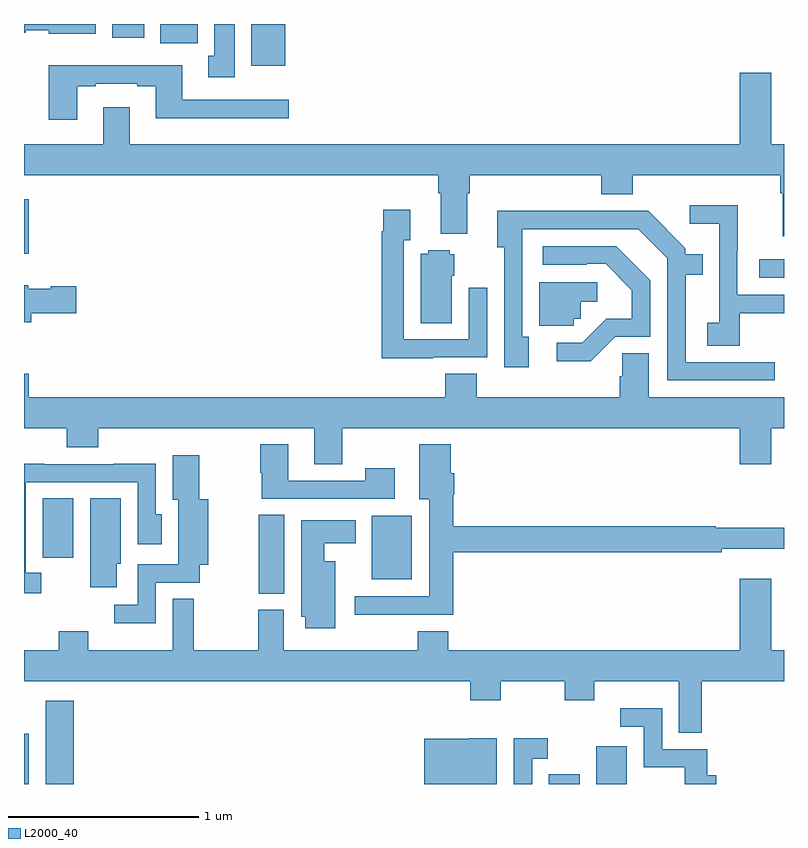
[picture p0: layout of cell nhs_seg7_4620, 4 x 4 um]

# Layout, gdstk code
import gdstk
lib = gdstk.Library(unit=1e-6, precision=1e-09)
def R(c, l, rs):  # rectangles x0, y0, x1, y1
    for r in rs: c.add(gdstk.rectangle(r[:2], r[2:], *l))
def P(c, l, *ps):  # polygons
    for p in ps: c.add(gdstk.Polygon(p, *l))
L2000_40 = (2000, 40)

nhs_seg7_4620 = lib.new_cell('nhs_seg7_4620')
R(nhs_seg7_4620, L2000_40, [(401,1076,401.025,1076.265), (401.114,1076,401.261,1076.437), (403.763,1076,403.924,1076.052), (404.012,1076,404.173,1076.2), (402.236,1077.001,402.37,1077.416), (402.83,1077.077,403.042,1077.412), (401.099,1077.192,401.26,1077.503), (404.871,1078.665,405,1078.761), (401,1078.79,401.024,1079.077), (402.197,1079.78,402.376,1080), (401.717,1079.9,401.914,1080), (401.465,1079.928,401.632,1080)])
P(nhs_seg7_4620, L2000_40, [(401.377,1080),(401,1080),(401,1079.954),(401.01,1079.954),(401.01,1079.966),(401.13,1079.966),(401.13,1079.948),(401.377,1079.948)],
  [(402.109,1080),(402.002,1080),(402.002,1079.834),(401.969,1079.834),(401.969,1079.721),(402.109,1079.721)],
  [(401.281,1079.673),(401.377,1079.673),(401.377,1079.685),(401.597,1079.685),(401.597,1079.673),(401.693,1079.673),(401.693,1079.504),(402.394,1079.504),(402.394,1079.601),(401.833,1079.601),(401.833,1079.782),(401.129,1079.782),(401.129,1079.496),(401.281,1079.496)],
  [(405,1079.368),(404.932,1079.368),(404.932,1079.743),(404.768,1079.743),(404.768,1079.368),(401.557,1079.368),(401.557,1079.563),(401.417,1079.563),(401.417,1079.368),(401,1079.368),(401,1079.204),(403.181,1079.204),(403.181,1079.108),(403.193,1079.108),(403.193,1078.895),(403.333,1078.895),(403.333,1079.108),(403.346,1079.108),(403.346,1079.204),(404.039,1079.204),(404.039,1079.105),(404.204,1079.105),(404.204,1079.204),(404.981,1079.204),(404.981,1079.108),(404.993,1079.108),(404.993,1078.884),(405,1078.884)],
  [(404.767,1078.477),(405,1078.477),(405,1078.575),(404.754,1078.575),(404.754,1078.808),(404.757,1078.808),(404.757,1079.047),(404.505,1079.047),(404.505,1078.949),(404.658,1078.949),(404.658,1078.428),(404.595,1078.428),(404.595,1078.306),(404.767,1078.306)],
  [(403.153,1078.245),(403.437,1078.245),(403.437,1078.612),(403.341,1078.612),(403.341,1078.341),(402.999,1078.341),(402.999,1078.862),(403.033,1078.862),(403.033,1079.023),(402.891,1079.023),(402.891,1078.91),(402.883,1078.91),(402.883,1078.241),(403.153,1078.241)],
  [(404.95,1078.221),(404.482,1078.221),(404.482,1078.68),(404.573,1078.68),(404.573,1078.789),(404.481,1078.789),(404.481,1078.821),(404.286,1079.016),(403.955,1079.016),(403.955,1079.018),(403.49,1079.018),(403.49,1078.826),(403.527,1078.826),(403.527,1078.194),(403.657,1078.194),(403.657,1078.354),(403.623,1078.354),(403.623,1078.92),(404.232,1078.92),(404.385,1078.767),(404.385,1078.125),(404.95,1078.125)],
  [(404.005,1078.246),(404.112,1078.353),(404.295,1078.353),(404.295,1078.651),(404.116,1078.83),(403.731,1078.83),(403.731,1078.734),(403.961,1078.734),(403.961,1078.737),(404.061,1078.737),(404.198,1078.6),(404.198,1078.45),(404.065,1078.45),(403.938,1078.323),(403.803,1078.323),(403.803,1078.226),(403.984,1078.226)],
  [(403.252,1078.674),(403.264,1078.674),(403.264,1078.788),(403.242,1078.788),(403.242,1078.81),(403.128,1078.81),(403.128,1078.792),(403.088,1078.792),(403.088,1078.426),(403.252,1078.426)],
  [(403.893,1078.449),(403.929,1078.449),(403.929,1078.538),(404.017,1078.538),(404.017,1078.641),(403.712,1078.641),(403.712,1078.413),(403.893,1078.413)],
  [(401.039,1078.477),(401.275,1078.477),(401.275,1078.619),(401.142,1078.619),(401.142,1078.606),(401.022,1078.606),(401.022,1078.624),(401,1078.624),(401,1078.43),(401.039,1078.43)],
  [(402.675,1077.872),(404.768,1077.872),(404.768,1077.684),(404.932,1077.684),(404.932,1077.872),(405,1077.872),(405,1078.036),(404.287,1078.036),(404.287,1078.268),(404.149,1078.268),(404.149,1078.146),(404.135,1078.146),(404.135,1078.036),(403.382,1078.036),(403.382,1078.16),(403.217,1078.16),(403.217,1078.036),(401.024,1078.036),(401.024,1078.16),(401,1078.16),(401,1077.872),(401.225,1077.872),(401.225,1077.773),(401.39,1077.773),(401.39,1077.872),(402.527,1077.872),(402.527,1077.682),(402.675,1077.682)],
  [(403.259,1077.22),(404.672,1077.22),(404.672,1077.239),(405,1077.239),(405,1077.349),(404.641,1077.349),(404.641,1077.356),(403.259,1077.356),(403.259,1077.522),(403.264,1077.522),(403.264,1077.636),(403.246,1077.636),(403.246,1077.787),(403.079,1077.787),(403.079,1077.5),(403.133,1077.5),(403.133,1076.988),(402.741,1076.988),(402.741,1076.891),(403.259,1076.891)],
  [(402.952,1077.661),(402.796,1077.661),(402.796,1077.597),(402.391,1077.597),(402.391,1077.787),(402.244,1077.787),(402.244,1077.639),(402.251,1077.639),(402.251,1077.501),(402.952,1077.501)],
  [(401.694,1077.06),(401.924,1077.06),(401.924,1077.155),(401.971,1077.155),(401.971,1077.499),(401.922,1077.499),(401.922,1077.73),(401.783,1077.73),(401.783,1077.497),(401.813,1077.497),(401.813,1077.156),(401.598,1077.156),(401.598,1076.943),(401.475,1076.943),(401.475,1076.846),(401.694,1076.846)],
  [(401.092,1077.111),(401.01,1077.111),(401.01,1077.588),(401.598,1077.588),(401.598,1077.261),(401.725,1077.261),(401.725,1077.42),(401.694,1077.42),(401.694,1077.686),(401.473,1077.686),(401.473,1077.684),(401.107,1077.684),(401.107,1077.686),(401,1077.686),(401,1077.003),(401.092,1077.003)],
  [(401.488,1077.159),(401.509,1077.159),(401.509,1077.503),(401.348,1077.503),(401.348,1077.036),(401.488,1077.036)],
  [(402.637,1077.172),(402.58,1077.172),(402.58,1077.266),(402.745,1077.266),(402.745,1077.388),(402.458,1077.388),(402.458,1076.88),(402.479,1076.88),(402.479,1076.82),(402.637,1076.82)],
  [(404.566,1076.54),(405,1076.54),(405,1076.704),(404.932,1076.704),(404.932,1077.079),(404.768,1077.079),(404.768,1076.704),(403.232,1076.704),(403.232,1076.803),(403.072,1076.803),(403.072,1076.704),(402.367,1076.704),(402.367,1076.916),(402.232,1076.916),(402.232,1076.704),(401.894,1076.704),(401.894,1076.975),(401.783,1076.975),(401.783,1076.704),(401.337,1076.704),(401.337,1076.803),(401.182,1076.803),(401.182,1076.704),(401,1076.704),(401,1076.54),(403.349,1076.54),(403.349,1076.441),(403.509,1076.441),(403.509,1076.54),(403.846,1076.54),(403.846,1076.441),(404.001,1076.441),(404.001,1076.54),(404.447,1076.54),(404.447,1076.269),(404.566,1076.269)],
  [(404.643,1076.047),(404.596,1076.047),(404.596,1076.184),(404.358,1076.184),(404.358,1076.398),(404.139,1076.398),(404.139,1076.301),(404.262,1076.301),(404.262,1076.088),(404.477,1076.088),(404.477,1076),(404.643,1076)],
  [(403.674,1076.133),(403.756,1076.133),(403.756,1076.242),(403.578,1076.242),(403.578,1076),(403.674,1076)],
  [(403.489,1076.242),(403.347,1076.242),(403.347,1076.239),(403.106,1076.239),(403.106,1076),(403.489,1076)])

lib.write_gds('nhs_seg7_4620.gds')
